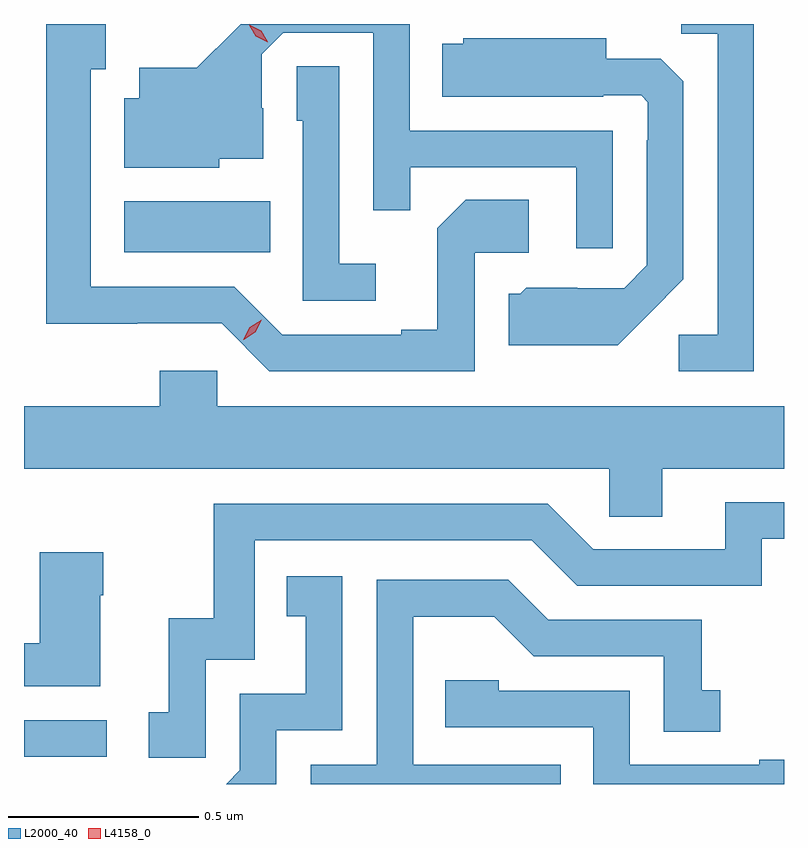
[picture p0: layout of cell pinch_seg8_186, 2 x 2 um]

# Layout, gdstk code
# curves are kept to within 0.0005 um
import gdstk
lib = gdstk.Library(unit=1e-6, precision=1e-09)
def R(c, l, rs):  # rectangles x0, y0, x1, y1
    for r in rs: c.add(gdstk.rectangle(r[:2], r[2:], *l))
def P(c, l, *ps):  # polygons
    for p in ps: c.add(gdstk.Polygon(p, *l))
L2000_40 = (2000, 40)
L4158_0 = (4158, 0)

pinch_seg8_186 = lib.new_cell('pinch_seg8_186')
R(pinch_seg8_186, L2000_40, [(685.004,1146.378,685.222,1146.474), (685.268,1147.706,685.652,1147.84)])
P(pinch_seg8_186, L2000_40, [(686.925,1148.306),(686.734,1148.306),(686.734,1148.281),(686.829,1148.281),(686.829,1147.488),(686.727,1147.488),(686.727,1147.392),(686.925,1147.392)],
  [(686.19,1147.704),(686.332,1147.704),(686.332,1147.844),(686.167,1147.844),(686.091,1147.768),(686.091,1147.501),(685.997,1147.501),(685.997,1147.488),(685.683,1147.488),(685.557,1147.614),(685.18,1147.614),(685.18,1148.187),(685.219,1148.187),(685.219,1148.306),(685.062,1148.306),(685.062,1147.517),(685.302,1147.517),(685.302,1147.518),(685.524,1147.518),(685.65,1147.392),(686.19,1147.392)],
  [(686.553,1148.025),(686.019,1148.025),(686.019,1148.306),(685.575,1148.306),(685.459,1148.191),(685.307,1148.191),(685.307,1148.11),(685.268,1148.11),(685.268,1147.928),(685.518,1147.928),(685.518,1147.952),(685.633,1147.952),(685.633,1148.084),(685.629,1148.084),(685.629,1148.226),(685.686,1148.283),(685.923,1148.283),(685.923,1147.816),(686.021,1147.816),(686.021,1147.929),(686.457,1147.929),(686.457,1147.716),(686.553,1147.716)],
  [(686.647,1147.541),(686.739,1147.634),(686.739,1148.156),(686.68,1148.215),(686.536,1148.215),(686.536,1148.269),(686.16,1148.269),(686.16,1148.254),(686.104,1148.254),(686.104,1148.114),(686.528,1148.114),(686.528,1148.118),(686.628,1148.118),(686.646,1148.1),(686.646,1148),(686.643,1148),(686.643,1147.671),(686.583,1147.611),(686.46,1147.611),(686.46,1147.612),(686.326,1147.612),(686.31,1147.596),(686.279,1147.596),(686.279,1147.46),(686.567,1147.46)],
  [(685.93,1147.675),(685.833,1147.675),(685.833,1148.195),(685.722,1148.195),(685.722,1148.052),(685.737,1148.052),(685.737,1147.578),(685.93,1147.578)],
  [(686.683,1147.136),(687.004,1147.136),(687.004,1147.3),(685.512,1147.3),(685.512,1147.393),(685.361,1147.393),(685.361,1147.3),(685.004,1147.3),(685.004,1147.136),(686.544,1147.136),(686.544,1147.009),(686.683,1147.009)],
  [(685.482,1146.633),(685.611,1146.633),(685.611,1146.948),(686.34,1146.948),(686.46,1146.828),(686.946,1146.828),(686.946,1146.951),(687.004,1146.951),(687.004,1147.047),(686.849,1147.047),(686.849,1146.924),(686.502,1146.924),(686.382,1147.044),(685.503,1147.044),(685.503,1146.742),(685.385,1146.742),(685.385,1146.495),(685.332,1146.495),(685.332,1146.375),(685.482,1146.375)],
  [(685.204,1146.803),(685.212,1146.803),(685.212,1146.916),(685.046,1146.916),(685.046,1146.677),(685.004,1146.677),(685.004,1146.563),(685.204,1146.563)],
  [(685.668,1146.447),(685.842,1146.447),(685.842,1146.853),(685.696,1146.853),(685.696,1146.747),(685.745,1146.747),(685.745,1146.543),(685.572,1146.543),(685.572,1146.342),(685.536,1146.306),(685.668,1146.306)],
  [(686.417,1146.357),(686.028,1146.357),(686.028,1146.746),(686.242,1146.746),(686.346,1146.642),(686.688,1146.642),(686.688,1146.444),(686.836,1146.444),(686.836,1146.553),(686.787,1146.553),(686.787,1146.738),(686.383,1146.738),(686.278,1146.843),(685.932,1146.843),(685.932,1146.357),(685.758,1146.357),(685.758,1146.306),(686.417,1146.306)],
  [(687.004,1146.37),(686.939,1146.37),(686.939,1146.357),(686.598,1146.357),(686.598,1146.552),(686.253,1146.552),(686.253,1146.579),(686.113,1146.579),(686.113,1146.456),(686.502,1146.456),(686.502,1146.306),(687.004,1146.306)])
P(pinch_seg8_186, L4158_0, [(685.645,1148.258),(685.614,1148.274),(685.597,1148.303),(685.597,1148.304),(685.597,1148.304),(685.628,1148.288),(685.646,1148.259),(685.646,1148.258)],
  [(685.581,1147.475),(685.581,1147.475),(685.598,1147.508),(685.63,1147.528),(685.63,1147.528),(685.63,1147.528),(685.613,1147.495),(685.582,1147.475)])

lib.write_gds('pinch_seg8_186.gds')
